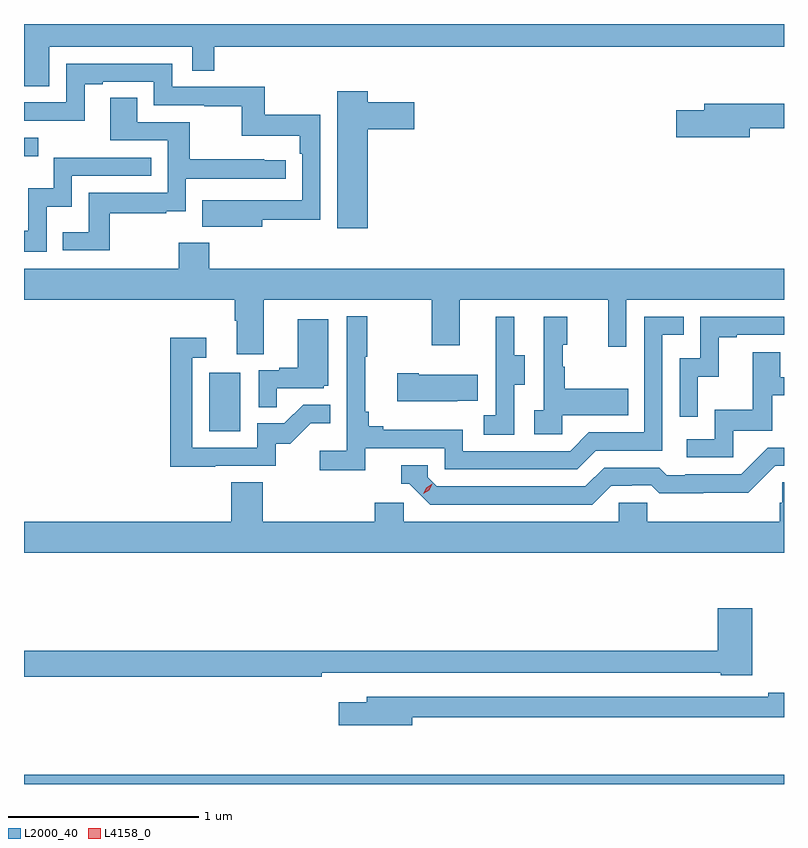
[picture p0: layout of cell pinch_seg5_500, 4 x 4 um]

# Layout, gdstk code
import gdstk
lib = gdstk.Library(unit=1e-6, precision=1e-09)
def R(c, l, rs):  # rectangles x0, y0, x1, y1
    for r in rs: c.add(gdstk.rectangle(r[:2], r[2:], *l))
def P(c, l, *ps):  # polygons
    for p in ps: c.add(gdstk.Polygon(p, *l))
L2000_40 = (2000, 40)
L4158_0 = (4158, 0)

pinch_seg5_500 = lib.new_cell('pinch_seg5_500')
R(pinch_seg5_500, L2000_40, [(900.72,835.563,904.72,835.612), (901.694,837.42,901.858,837.727), (900.72,838.868,900.796,838.965)])
P(pinch_seg5_500, L2000_40, [(900.853,839.444),(901.605,839.444),(901.605,839.317),(901.721,839.317),(901.721,839.444),(904.72,839.444),(904.72,839.563),(900.72,839.563),(900.72,839.236),(900.853,839.236)],
  [(901.975,838.534),(902.28,838.534),(902.28,839.086),(901.987,839.086),(901.987,839.232),(901.5,839.232),(901.5,839.355),(900.942,839.355),(900.942,839.151),(900.72,839.151),(900.72,839.055),(900.834,839.055),(900.834,839.054),(901.039,839.054),(901.039,839.247),(901.135,839.247),(901.135,839.259),(901.404,839.259),(901.404,839.136),(901.669,839.136),(901.669,839.131),(901.866,839.131),(901.866,838.976),(902.171,838.976),(902.171,838.88),(902.184,838.88),(902.184,838.635),(901.871,838.635),(901.871,838.636),(901.657,838.636),(901.657,838.496),(901.975,838.496)],
  [(902.53,839.009),(902.773,839.009),(902.773,839.151),(902.53,839.151),(902.53,839.209),(902.369,839.209),(902.369,838.488),(902.53,838.488)],
  [(901.171,838.566),(901.469,838.566),(901.469,838.577),(901.572,838.577),(901.572,838.749),(902.098,838.749),(902.098,838.845),(901.985,838.845),(901.985,838.85),(901.592,838.85),(901.592,839.046),(901.315,839.046),(901.315,839.174),(901.175,839.174),(901.175,838.95),(901.476,838.95),(901.476,838.674),(901.06,838.674),(901.06,838.468),(900.925,838.468),(900.925,838.371),(901.171,838.371)],
  [(904.54,839.014),(904.72,839.014),(904.72,839.143),(904.301,839.143),(904.301,839.109),(904.152,839.109),(904.152,838.967),(904.54,838.967)],
  [(900.84,838.601),(900.972,838.601),(900.972,838.764),(901.391,838.764),(901.391,838.86),(900.876,838.86),(900.876,838.699),(900.743,838.699),(900.743,838.474),(900.72,838.474),(900.72,838.365),(900.84,838.365)],
  [(901.981,838.112),(902.866,838.112),(902.866,837.873),(903.013,837.873),(903.013,838.112),(903.794,838.112),(903.794,837.864),(903.891,837.864),(903.891,838.112),(904.72,838.112),(904.72,838.276),(901.694,838.276),(901.694,838.411),(901.534,838.411),(901.534,838.276),(900.72,838.276),(900.72,838.112),(901.829,838.112),(901.829,838),(901.841,838),(901.841,837.826),(901.981,837.826)],
  [(902.516,837.33),(902.934,837.33),(902.934,837.219),(903.631,837.219),(903.73,837.318),(904.08,837.318),(904.08,837.927),(904.193,837.927),(904.193,838.023),(903.984,838.023),(903.984,837.414),(903.693,837.414),(903.594,837.315),(903.03,837.315),(903.03,837.427),(902.611,837.427),(902.611,837.446),(902.534,837.446),(902.534,837.523),(902.515,837.523),(902.515,837.811),(902.527,837.811),(902.527,838.024),(902.418,838.024),(902.418,837.316),(902.277,837.316),(902.277,837.214),(902.516,837.214)],
  [(904.266,837.707),(904.376,837.707),(904.376,837.915),(904.471,837.915),(904.471,837.927),(904.72,837.927),(904.72,838.023),(904.278,838.023),(904.278,837.804),(904.17,837.804),(904.17,837.495),(904.266,837.495)],
  [(903.3,837.664),(903.355,837.664),(903.355,837.819),(903.301,837.819),(903.301,838.021),(903.203,838.021),(903.203,837.807),(903.204,837.807),(903.204,837.503),(903.141,837.503),(903.141,837.4),(903.3,837.4)],
  [(903.552,837.503),(903.899,837.503),(903.899,837.643),(903.565,837.643),(903.565,837.758),(903.555,837.758),(903.555,837.876),(903.58,837.876),(903.58,838.021),(903.456,838.021),(903.456,837.53),(903.405,837.53),(903.405,837.405),(903.552,837.405)],
  [(902.051,837.645),(902.298,837.645),(902.298,837.66),(902.32,837.66),(902.32,838.009),(902.162,838.009),(902.162,837.754),(902.063,837.754),(902.063,837.741),(901.956,837.741),(901.956,837.547),(902.051,837.547)],
  [(901.727,837.237),(902.046,837.237),(902.046,837.354),(902.122,837.354),(902.229,837.461),(902.333,837.461),(902.333,837.56),(902.189,837.56),(902.091,837.462),(901.947,837.462),(901.947,837.333),(901.605,837.333),(901.605,837.807),(901.678,837.807),(901.678,837.913),(901.489,837.913),(901.489,837.232),(901.727,837.232)],
  [(904.452,837.423),(904.657,837.423),(904.657,837.609),(904.72,837.609),(904.72,837.705),(904.699,837.705),(904.699,837.835),(904.555,837.835),(904.555,837.532),(904.356,837.532),(904.356,837.378),(904.209,837.378),(904.209,837.282),(904.452,837.282)],
  [(902.999,837.581),(903.107,837.581),(903.107,837.718),(902.797,837.718),(902.797,837.726),(902.685,837.726),(902.685,837.578),(902.999,837.578)],
  [(903.811,837.132),(903.918,837.132),(903.918,837.135),(904.021,837.135),(904.063,837.093),(904.296,837.093),(904.296,837.095),(904.532,837.095),(904.674,837.237),(904.72,837.237),(904.72,837.333),(904.635,837.333),(904.494,837.192),(904.201,837.192),(904.201,837.189),(904.102,837.189),(904.063,837.228),(903.774,837.228),(903.675,837.129),(902.892,837.129),(902.844,837.177),(902.844,837.24),(902.705,837.24),(902.705,837.144),(902.748,837.144),(902.859,837.033),(903.712,837.033)],
  [(904.72,837.152),(904.711,837.152),(904.711,837.042),(904.697,837.042),(904.697,836.944),(903.999,836.944),(903.999,837.042),(903.849,837.042),(903.849,836.944),(902.718,836.944),(902.718,837.042),(902.567,837.042),(902.567,836.944),(901.976,836.944),(901.976,837.152),(901.811,837.152),(901.811,836.944),(900.72,836.944),(900.72,836.78),(904.72,836.78)],
  [(902.288,836.148),(904.386,836.148),(904.386,836.135),(904.553,836.135),(904.553,836.488),(904.37,836.488),(904.37,836.264),(900.72,836.264),(900.72,836.128),(902.288,836.128)],
  [(902.764,835.914),(904.72,835.914),(904.72,836.042),(904.636,836.042),(904.636,836.022),(902.525,836.022),(902.525,835.993),(902.376,835.993),(902.376,835.871),(902.764,835.871)])
P(pinch_seg5_500, L4158_0, [(902.821,837.09),(902.821,837.09),(902.838,837.123),(902.869,837.142),(902.869,837.142),(902.869,837.142),(902.852,837.11),(902.821,837.09)])

lib.write_gds('pinch_seg5_500.gds')
